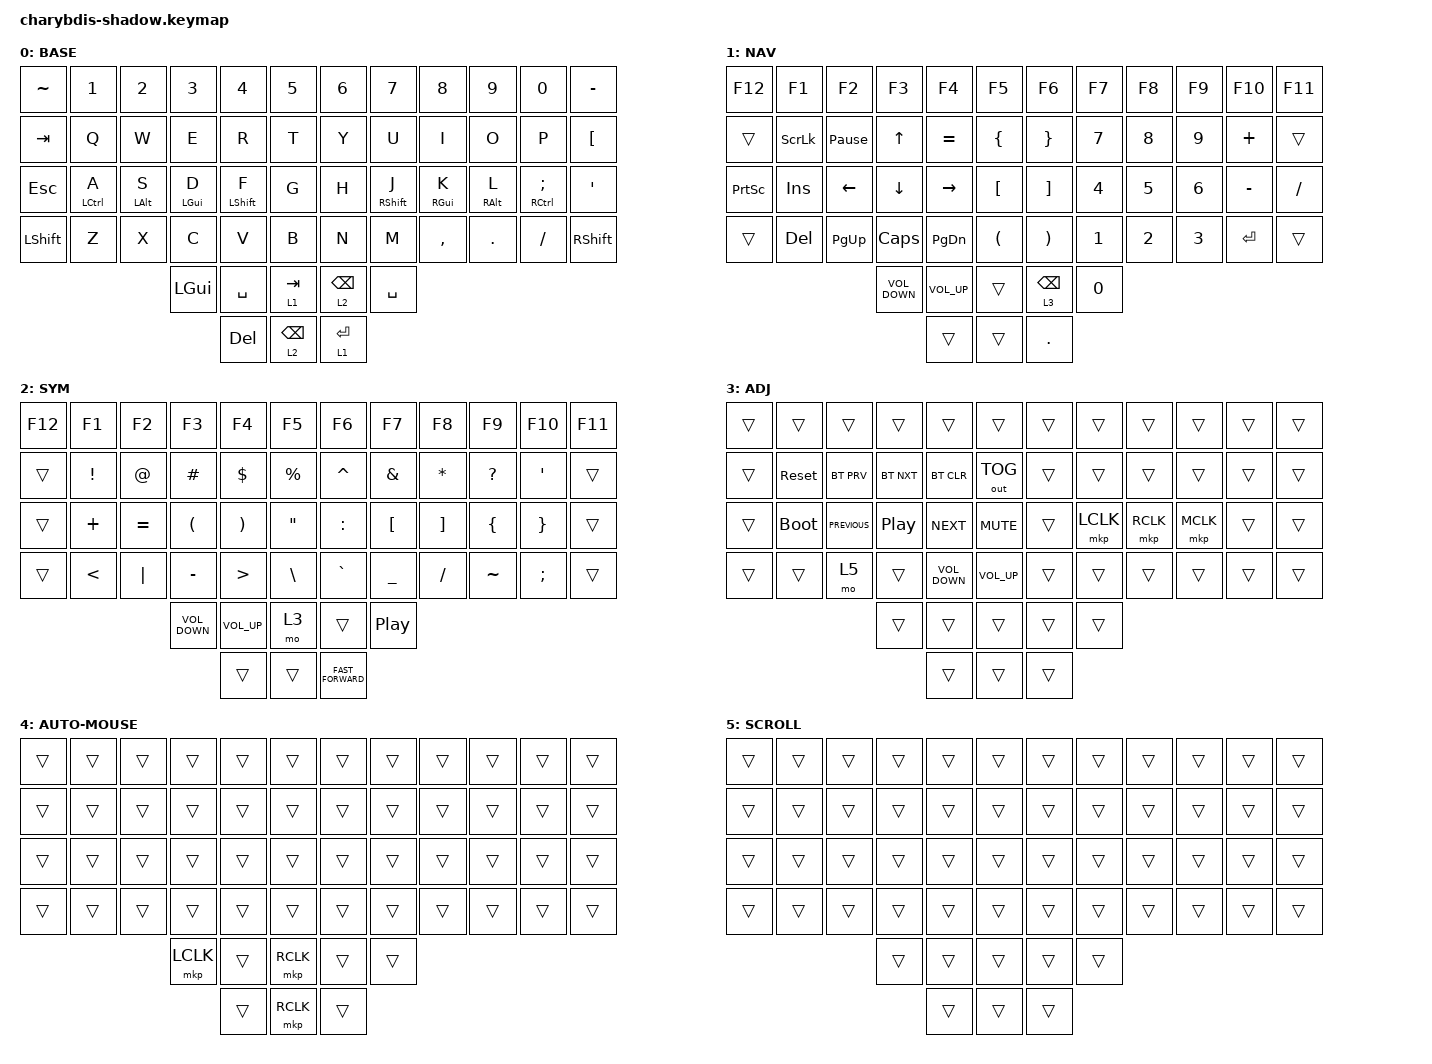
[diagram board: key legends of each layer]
#include <behaviors/mouse_keys.dtsi>
#include <behaviors.dtsi>
#include <dt-bindings/zmk/bt.h>
#include <dt-bindings/zmk/keys.h>
#include <dt-bindings/zmk/outputs.h>
#include <dt-bindings/zmk/pointing.h>

#define U_TAPPING_TERM 200

/ {
    chosen { zmk,matrix_transform = &default_transform; };
};

&mt {
    quick-tap-ms = <100>;
    global-quick-tap;
    flavor = "tap-preferred";
    tapping-term-ms = <170>;
};

/ {
    keymap {
        compatible = "zmk,keymap";

        BASE {
            bindings = <
&kp TILDE   &kp N1       &kp N2      &kp N3      &kp N4        &kp N5           &kp N6                   &kp N7        &kp N8      &kp N9      &kp N0          &kp MINUS
&kp TAB     &kp Q        &kp W       &kp E       &kp R         &kp T                    &kp Y            &kp U         &kp I       &kp O       &kp P           &kp LBKT
&kp ESC     &mt LCTRL A  &mt LALT S  &mt LGUI D  &mt LSHIFT F  &kp G                    &kp H            &mt RSHIFT J  &mt RGUI K  &mt RALT L  &mt RCTRL SEMI  &kp APOS
&kp LSHIFT  &kp Z        &kp X       &kp C       &kp V         &kp B                    &kp N            &kp M         &kp COMMA   &kp DOT     &kp FSLH        &kp RSHIFT
                                     &kp LGUI    &kp SPACE     &lt 1 TAB                &lt 2 BACKSPACE  &kp SPACE
                                                 &kp DEL       &lt 2 BACKSPACE          &lt 1 ENTER
            >;
        };

        NAV {
            bindings = <
&kp F12          &kp F1          &kp F2           &kp F3             &kp F4           &kp F5    &kp F6                   &kp F7  &kp F8  &kp F9  &kp F10    &kp F11
&trans           &kp SCROLLLOCK  &kp PAUSE_BREAK  &kp UP             &kp EQUAL        &kp LBRC          &kp RBRC         &kp N7  &kp N8  &kp N9  &kp PLUS   &trans
&kp PRINTSCREEN  &kp INSERT      &kp LEFT         &kp DOWN           &kp RIGHT        &kp LBKT          &kp RBKT         &kp N4  &kp N5  &kp N6  &kp MINUS  &kp FSLH
&trans           &kp DEL         &kp PG_UP        &kp CAPS           &kp PG_DN        &kp LPAR          &kp RPAR         &kp N1  &kp N2  &kp N3  &kp RET    &trans
                                                  &kp C_VOLUME_DOWN  &kp C_VOLUME_UP  &trans            &lt 3 BACKSPACE  &kp N0
                                                                     &trans           &trans            &kp DOT
            >;
        };

        SYM {
            bindings = <
&kp F12  &kp F1         &kp F2     &kp F3             &kp F4            &kp F5         &kp F6                      &kp F7            &kp F8     &kp F9        &kp F10        &kp F11
&trans   &kp EXCL       &kp AT     &kp HASH           &kp DLLR          &kp PRCNT              &kp CARET           &kp AMPS          &kp STAR   &kp QUESTION  &kp SQT        &trans
&trans   &kp PLUS       &kp EQUAL  &kp LPAR           &kp RPAR          &kp DQT                &kp COLON           &kp LBKT          &kp RBKT   &kp LBRC      &kp RBRC       &trans
&trans   &kp LESS_THAN  &kp PIPE   &kp MINUS          &kp GREATER_THAN  &kp BACKSLASH          &kp GRAVE           &kp UNDERSCORE    &kp SLASH  &kp TILDE     &kp SEMICOLON  &trans
                                   &kp C_VOLUME_DOWN  &kp C_VOLUME_UP   &mo 3                  &trans              &kp C_PLAY_PAUSE
                                                      &trans            &trans                 &kp C_FAST_FORWARD
            >;
        };

        ADJ {
            bindings = <
&trans  &trans       &trans          &trans            &trans             &trans           &trans          &trans     &trans     &trans     &trans  &trans
&trans  &sys_reset   &bt BT_PRV      &bt BT_NXT        &bt BT_CLR         &out OUT_TOG             &trans  &trans     &trans     &trans     &trans  &trans
&trans  &bootloader  &kp C_PREVIOUS  &kp C_PLAY_PAUSE  &kp C_NEXT         &kp C_MUTE               &trans  &mkp LCLK  &mkp RCLK  &mkp MCLK  &trans  &trans
&trans  &trans       &mo 5           &trans            &kp C_VOLUME_DOWN  &kp C_VOLUME_UP          &trans  &trans     &trans     &trans     &trans  &trans
                                     &trans            &trans             &trans                   &trans  &trans
                                                       &trans             &trans                   &trans
            >;
        };

        AUTO-MOUSE {
            bindings = <
&trans  &trans  &trans  &trans     &trans  &trans     &trans          &trans  &trans  &trans  &trans  &trans
&trans  &trans  &trans  &trans     &trans  &trans             &trans  &trans  &trans  &trans  &trans  &trans
&trans  &trans  &trans  &trans     &trans  &trans             &trans  &trans  &trans  &trans  &trans  &trans
&trans  &trans  &trans  &trans     &trans  &trans             &trans  &trans  &trans  &trans  &trans  &trans
                        &mkp LCLK  &trans  &mkp RCLK          &trans  &trans
                                   &trans  &mkp RCLK          &trans
            >;
        };

        SCROLL {
            bindings = <
&trans  &trans  &trans  &trans  &trans  &trans  &trans          &trans  &trans  &trans  &trans  &trans
&trans  &trans  &trans  &trans  &trans  &trans          &trans  &trans  &trans  &trans  &trans  &trans
&trans  &trans  &trans  &trans  &trans  &trans          &trans  &trans  &trans  &trans  &trans  &trans
&trans  &trans  &trans  &trans  &trans  &trans          &trans  &trans  &trans  &trans  &trans  &trans
                        &trans  &trans  &trans          &trans  &trans
                                &trans  &trans          &trans
            >;
        };
    };
};
